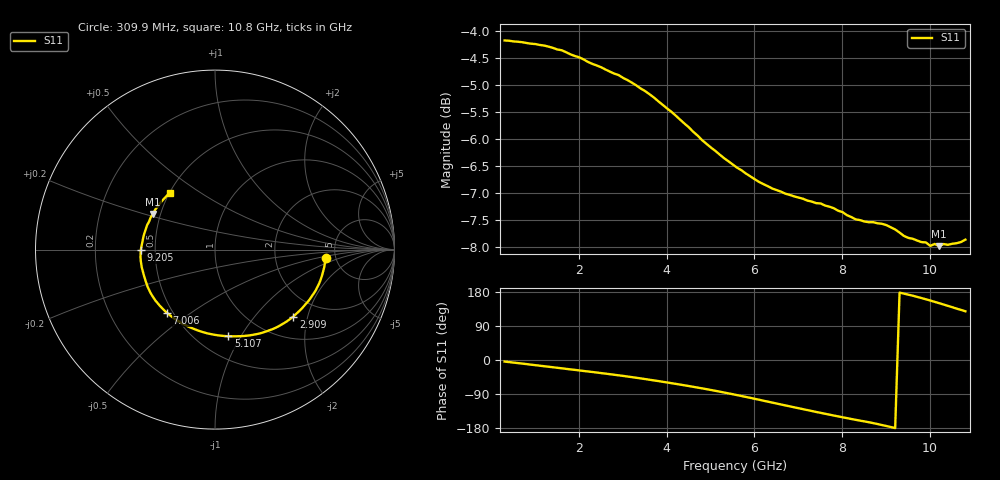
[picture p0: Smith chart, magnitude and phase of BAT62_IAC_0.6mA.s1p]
! Infineon Technologies  Discrete & RF Semiconductors
! BAT62
! IAC = 0.6 mA
! One-Port S-Parameters
# Hz  S  MA  R  50
!f  S11
!Hz  Mag  Ang
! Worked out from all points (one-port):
!   106 points, 309.9 MHz to 10.8 GHz, reference 50 ohm
!   lowest |S11| = -8.0 dB at 10.2 GHz (marker M1), VSWR 2.33, Z = 22.7 + j10.8 ohm
!   |S11| at or under -10 dB: nowhere
!   S11 on the Smith chart (normalised r, x): 309.9 MHz: 4.15, -0.60; 2.909 GHz: 1.47, -1.63; 5.107 GHz: 0.70, -0.89; 7.006 GHz: 0.46, -0.41; 9.205 GHz: 0.42, -0.00; 10.8 GHz: 0.50, +0.38
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3.0985e8  0.6184 -4.1
1.0095e9  0.6137 -13.7
1.30935e9  0.6103 -17.8
1.70915e9  0.6031 -23.3
2.4088e9  0.5863 -33.0
2.90855e9  0.5743 -40.5
3.0085e9  0.5709 -42.0
3.70815e9  0.5476 -53.8
4.30785e9  0.5223 -64.9
4.70765e9  0.5048 -72.8
5.10745e9  0.4887 -81.3
5.6072e9  0.4714 -92.8
5.90705e9  0.4628 -99.9
6.30685e9  0.4532 -109.9
6.90655e9  0.4435 -124.8
7.0065e9  0.4423 -127.3
7.4063e9  0.4371 -137.2
7.6062e9  0.4349 -141.9
7.8061e9  0.4325 -146.6
8.2059e9  0.4244 -155.7
8.70565e9  0.4198 -166.6
9.0055e9  0.4171 -174.2
9.2054e9  0.4133 -179.7
9.50525e9  0.4059 172.4
9.90505e9  0.402 160.2
1.02049e10  0.3988 150.1
1.050475e10  0.4008 139.4
1.08046e10  0.4044 128.5
